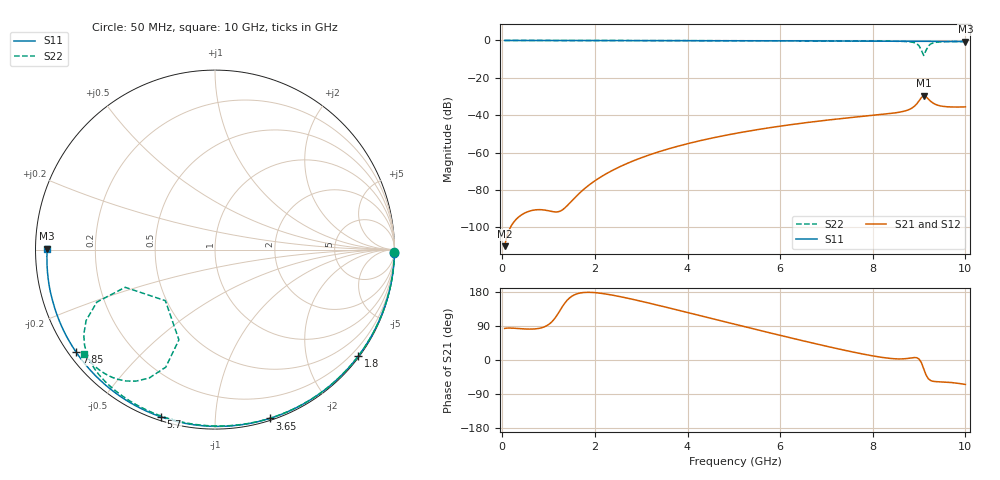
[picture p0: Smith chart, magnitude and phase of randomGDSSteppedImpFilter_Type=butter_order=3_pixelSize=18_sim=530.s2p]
! freq	dB(S11)	phase(S11)	dB(S12)	phase(S12)
!  dB(S21)	phase(S21)	dB(S22)	phase(S22)
!S-par simulation data
#  GHz  S  DB  R 50
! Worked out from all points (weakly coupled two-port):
!   200 points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, 50 MHz to 10 GHz, reference 50 ohm
!   highest |S21| = -29.64 dB at 9.1 GHz (marker M1); lowest = -110.1 dB at 50 MHz (marker M2)
!   lowest |S11| = -0.6 dB at 10 GHz (marker M3), VSWR 29.80, Z = 1.68 + j0.162 ohm
!   |S11| at or under -10 dB: nowhere
!   |S22| runs from -8.0 to 0.0 dB; largest |S21 - S12| = 0
!   S11 on the Smith chart (normalised r, x): 50 MHz: open; 1.8 GHz: 0.03, -3.02; 3.65 GHz: 0.02, -1.38; 5.7 GHz: 0.02, -0.73; 7.85 GHz: 0.02, -0.33; 10 GHz: 0.03, +0.00
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0.05  -0.00 -1.0  -110.14 83.4  -110.14 83.4  -0.00 -0.9
0.85  -0.02 -17.5  -90.63 85.0  -90.63 85.0  -0.02 -14.4
1.75  -0.05 -35.7  -79.89 178.0  -79.89 178.0  -0.04 -29.3
1.8  -0.05 -36.7  -78.85 178.5  -78.85 178.5  -0.04 -30.1
2.45  -0.06 -49.4  -68.66 169.5  -68.66 169.5  -0.05 -40.6
3.4  -0.09 -67.4  -59.45 143.4  -59.45 143.4  -0.07 -55.6
3.65  -0.10 -72.0  -57.60 135.9  -57.60 135.9  -0.08 -59.5
5.05  -0.15 -96.9  -49.71 93.5  -49.71 93.5  -0.12 -80.4
5.7  -0.18 -108.0  -46.99 74.0  -46.99 74.0  -0.15 -89.8
6.7  -0.24 -124.6  -43.58 44.7  -43.58 44.7  -0.20 -103.9
7.85  -0.34 -143.5  -40.47 14.2  -40.47 14.2  -0.30 -120.5
8.35  -0.39 -151.8  -39.18 4.5  -39.18 4.5  -0.37 -128.8
8.75  -0.43 -158.5  -37.33 4.0  -37.33 4.0  -0.63 -139.1
8.95  -0.45 -161.9  -33.94 6.0  -33.94 6.0  -1.73 -151.2
9  -0.46 -162.7  -32.31 2.5  -32.31 2.5  -2.85 -156.0
9.05  -0.46 -163.6  -30.58 -7.0  -30.58 -7.0  -5.31 -157.2
9.1  -0.47 -164.4  -29.64 -23.3  -29.64 -23.3  -8.03 -134.2
9.15  -0.47 -165.3  -30.15 -39.5  -30.15 -39.5  -5.33 -111.8
9.2  -0.48 -166.2  -31.39 -49.5  -31.39 -49.5  -2.97 -112.7
9.3  -0.49 -167.9  -33.51 -56.2  -33.51 -56.2  -1.35 -121.1
9.55  -0.52 -172.3  -35.39 -58.0  -35.39 -58.0  -0.68 -131.9
10  -0.58 179.6  -35.57 -64.4  -35.57 -64.4  -0.57 -141.5
